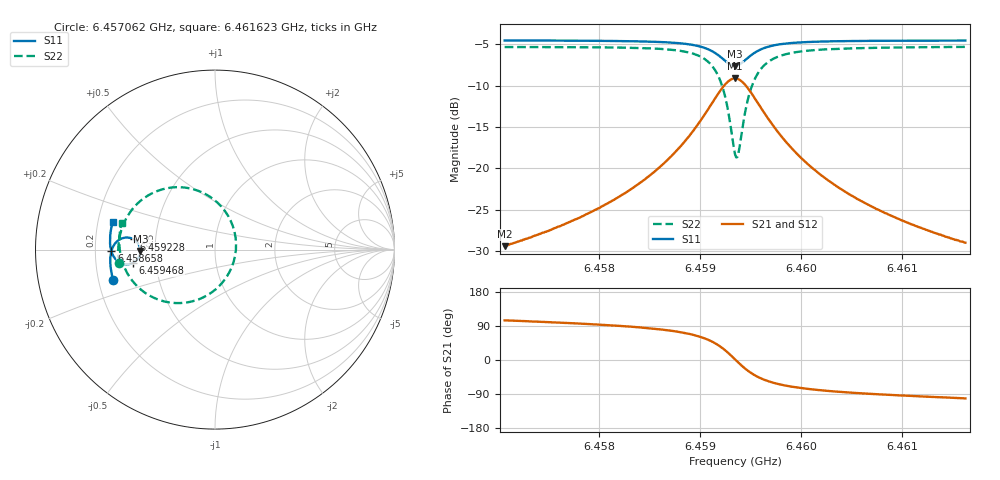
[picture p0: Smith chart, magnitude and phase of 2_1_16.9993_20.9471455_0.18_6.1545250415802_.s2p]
#  HZ  S  RI  R  50.00
! Rohde & Schwarz Vector Network Analyzer
! Rohde-Schwarz,ZNB20-2Port,1311601062101988,3.16
! Created: UTC 3/20/2024, 10:52:06 PM
! freq[Hz]  re:S11  im:S11  re:S21  im:S21  re:S12  im:S12  re:S22  im:S22
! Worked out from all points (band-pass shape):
!   401 points, 6.457062 GHz to 6.461623 GHz, reference 50 ohm
!   highest |S21| = -9.14 dB at 6.459342 GHz (marker M1); lowest = -29.4 dB at 6.457062 GHz (marker M2)
!   |S21| within 3 dB of the highest: 6.459114 GHz to 6.45957 GHz (455.9 kHz wide, 0.00706 % of centre)
!   lowest |S11| = -7.6 dB at 6.459342 GHz (marker M3), VSWR 2.42, Z = 20.6 - j0.396 ohm
!   |S11| at or under -10 dB: nowhere
!   |S22| runs from -18.7 to -5.3 dB; largest |S21 - S12| = 0.014
!   S11 on the Smith chart (normalised r, x): 6.457062 GHz: 0.26, -0.13; 6.458658 GHz: 0.27, -0.01; 6.459228 GHz: 0.38, +0.05; 6.459468 GHz: 0.37, -0.07; 6.461623 GHz: 0.26, +0.12
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6.4570617e9  -0.5678 -0.1671  -0.00855 0.0328  -0.00689 0.0328  -0.5346 -0.077
6.4578257e9  -0.5811 -0.1  -0.00514 0.051  -0.00258 0.0504  -0.5387 0.0131
6.4582362e9  -0.5837 -0.0587  0.000649 0.0699  0.00418 0.0685  -0.5298 0.0783
6.4585897e9  -0.5794 -0.0163  0.0155 0.0996  0.0193 0.0968  -0.5029 0.158
6.4586581e9  -0.5771 -0.00677  0.021 0.108  0.0248 0.1047  -0.4925 0.178
6.4588519e9  -0.5642 0.0236  0.048 0.1389  0.052 0.134  -0.4415 0.247
6.4590002e9  -0.541 0.0499  0.094 0.1695  0.0971 0.1626  -0.3565 0.3108
6.459137e9  -0.4966 0.0671  0.1822 0.1852  0.1831 0.178  -0.1954 0.3475
6.4592282e9  -0.4514 0.0564  0.2728 0.1527  0.2729 0.1469  -0.0281 0.2945
6.4592966e9  -0.4224 0.0235  0.3332 0.0794  0.3353 0.0741  0.0866 0.1622
6.4593422e9  -0.4157 -0.00793  0.3489 0.0106  0.3527 0.00372  0.1173 0.0336
6.4593536e9  -0.4161 -0.0161  0.3486 -0.00718  0.3525 -0.0149  0.1165 -0.00026
6.4593764e9  -0.4198 -0.0319  0.3425 -0.0423  0.3465 -0.0514  0.1043 -0.0665
6.459422e9  -0.4356 -0.0582  0.3131 -0.1024  0.3152 -0.1144  0.0444 -0.1799
6.4594677e9  -0.4582 -0.0747  0.2701 -0.1434  0.2692 -0.1567  -0.0425 -0.2539
6.4595589e9  -0.502 -0.0814  0.1842 -0.1739  0.1779 -0.1854  -0.2132 -0.298
6.4597071e9  -0.5463 -0.0607  0.0957 -0.1589  0.087 -0.1652  -0.3812 -0.2461
6.4598667e9  -0.5678 -0.0328  0.0507 -0.1304  0.043 -0.1331  -0.4612 -0.1727
6.4601062e9  -0.5806 0.00278  0.0216 -0.0983  0.0158 -0.0988  -0.5086 -0.0893
6.4604255e9  -0.5849 0.0413  0.00637 -0.0725  0.00225 -0.072  -0.5286 -0.0142
6.4608702e9  -0.583 0.0864  -0.00182 -0.0524  -0.00472 -0.0514  -0.5328 0.0585
6.4616227e9  -0.5706 0.1532  -0.00699 -0.0349  -0.00853 -0.034  -0.5207 0.1479
